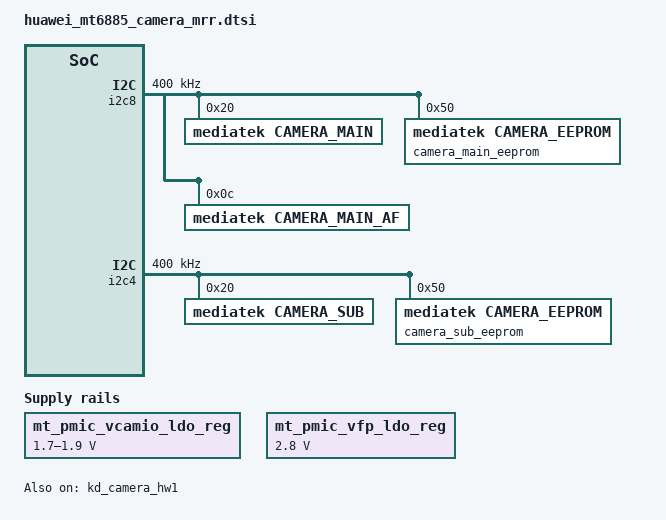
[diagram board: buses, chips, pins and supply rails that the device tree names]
/*
 * Copyright (c) Huawei Technologies Co., Ltd. 2020-2020. All rights reserved.
 * Description: mrr camera sensor dts config
 * Author: liming
 * Create: 2020-8-20
 */


&product_name_camera {
	product-name = "Mrr";
};

&mt_pmic_vcamio_ldo_reg {
	regulator-min-microvolt = <1700000>;
	regulator-max-microvolt = <1900000>;
	regulator-default-on = <2>; /* 0:skip, 1: off, 2:on */
	regulator-boot-on;
};

&mt_pmic_vfp_ldo_reg {
	regulator-min-microvolt = <2800000>;
	regulator-max-microvolt = <2800000>;
	regulator-default-on = <2>; /* 0:skip, 1: off, 2:on */
	regulator-boot-on;
};
/* CAMERA GPIO standardization */
&pio {
	/* Main Cam: cam0 GPIOs begin */
	cam0_rst_0: cam0@0 { // RST
		pins_cmd_dat {
			pinmux = <PINMUX_GPIO144__FUNC_GPIO144>;
			slew-rate = <1>;
			output-low;
		};
	};
	cam0_rst_1: cam0@1 {
		pins_cmd_dat {
			pinmux = <PINMUX_GPIO144__FUNC_GPIO144>;
			slew-rate = <1>;
			output-high;
		};
	};

	cam0_vcamd_en_0: cam0@vcam0 { // 1.2v DVDD
		pins_cmd_dat {
			pinmux = <PINMUX_GPIO134__FUNC_GPIO134>;
			slew-rate = <1>;
			output-low;
		};
	};
	cam0_vcamd_en_1: cam0@vcam1 {
		pins_cmd_dat {
			pinmux = <PINMUX_GPIO134__FUNC_GPIO134>;
			slew-rate = <1>;
			output-high;
		};
	};

	/* sel 0, output 1.05V*/
	cam0_vcamd_sel_0: cam0@vcam2 {
		pins_cmd_dat {
			pinmux = <PINMUX_GPIO135__FUNC_GPIO135>;
			slew-rate = <1>;
			output-low;
		};
	};
	/* sel 1, output 1.1V*/
	cam0_vcamd_sel_1: cam0@vcam3 {
		pins_cmd_dat {
			pinmux = <PINMUX_GPIO135__FUNC_GPIO135>;
			slew-rate = <1>;
			output-high;
		};
	};

	cam0_vcama_sel_0: cam0@vcam4 { // 1.1v dvdd
		pins_cmd_dat {
			pinmux = <PINMUX_GPIO137__FUNC_GPIO137>;
			slew-rate = <1>;
			output-low;
		};
	};

	cam0_vcama_sel_1: cam0@vcam5 {
		pins_cmd_dat {
			pinmux = <PINMUX_GPIO137__FUNC_GPIO137>;
			slew-rate = <1>;
			output-high;
		};
	};

	cam0_vcama_en_0: cam0@vcam6 { // AVDD
		pins_cmd_dat {
			pinmux = <PINMUX_GPIO133__FUNC_GPIO133>;
			slew-rate = <1>;
			output-low;
		};
	};
	cam0_vcama_en_1: cam0@vcam7 {
		pins_cmd_dat {
			pinmux = <PINMUX_GPIO133__FUNC_GPIO133>;
			slew-rate = <1>;
			output-high;
		};
	};

	cam0_mclk_off: cam0_mclk_off {
		pins_cmd_dat {
			pinmux = <PINMUX_GPIO150__FUNC_GPIO150>;
			drive-strength = <1>;
		};
	};
	cam0_mclk_2ma: cam0_mclk_2ma {
		pins_cmd_dat {
			pinmux = <PINMUX_GPIO150__FUNC_CMMCLK1>;
			drive-strength = <0>;
		};
	};
	cam0_mclk_4ma: cam0_mclk_4ma {
		pins_cmd_dat {
			pinmux = <PINMUX_GPIO150__FUNC_CMMCLK1>;
			drive-strength = <1>;
		};
	};
	cam0_mclk_6ma: cam0_mclk_6ma {
		pins_cmd_dat {
			pinmux = <PINMUX_GPIO150__FUNC_CMMCLK1>;
			drive-strength = <2>;
		};
	};
	cam0_mclk_8ma: cam0_mclk_8ma {
		pins_cmd_dat {
			pinmux = <PINMUX_GPIO150__FUNC_CMMCLK1>;
			drive-strength = <3>;
		};
	};
	/* Main Cam: cam0 GPIOs end */

	/* Sub(front) Cam: cam1 GPIOs begin */
	cam1_rst_0: cam1@0 {
		pins_cmd_dat {
			pinmux = <PINMUX_GPIO131__FUNC_GPIO131>;
			slew-rate = <1>;
			output-low;
		};
	};
	cam1_rst_1: cam1@1 {
		pins_cmd_dat {
			pinmux = <PINMUX_GPIO131__FUNC_GPIO131>;
			slew-rate = <1>;
			output-high;
		};
	};

	cam1_vcamd_en_0: cam1@vcam0 { // DVDD 1.2V
		pins_cmd_dat {
			pinmux = <PINMUX_GPIO134__FUNC_GPIO134>;
			slew-rate = <1>;
			output-low;
		};
	};
	cam1_vcamd_en_1: cam1@vcam1 {
		pins_cmd_dat {
			pinmux = <PINMUX_GPIO134__FUNC_GPIO134>;
			slew-rate = <1>;
			output-high;
		};
	};

	cam1_vcama_en_0: cam1@vcam2 { // AVDD
		pins_cmd_dat {
			pinmux = <PINMUX_GPIO133__FUNC_GPIO133>;
			slew-rate = <1>;
			output-low;
		};
	};

	cam1_vcama_en_1: cam1@vcam3 {
		pins_cmd_dat {
			pinmux = <PINMUX_GPIO133__FUNC_GPIO133>;
			slew-rate = <1>;
			output-high;
		};
	};

	cam1_mclk_off: cam1_mclk_off {
		pins_cmd_dat {
			pinmux = <PINMUX_GPIO136__FUNC_GPIO136>;
			drive-strength = <1>;
		};
	};
	cam1_mclk_2ma: cam1_mclk_2ma {
		pins_cmd_dat {
			pinmux = <PINMUX_GPIO136__FUNC_CMMCLK3>;
			drive-strength = <0>;
		};
	};
	cam1_mclk_4ma: cam1_mclk_4ma {
		pins_cmd_dat {
			pinmux = <PINMUX_GPIO136__FUNC_CMMCLK3>;
			drive-strength = <1>;
		};
	};
	cam1_mclk_6ma: cam1_mclk_6ma {
		pins_cmd_dat {
			pinmux = <PINMUX_GPIO136__FUNC_CMMCLK3>;
			drive-strength = <2>;
		};
	};
	cam1_mclk_8ma: cam1_mclk_8ma {
		pins_cmd_dat {
			pinmux = <PINMUX_GPIO136__FUNC_CMMCLK3>;
			drive-strength = <3>;
		};
	};
	/* Sub(front) Cam: cam1 GPIOs end */


	default: camdefault {
	};
};

&kd_camera_hw1 {
	pinctrl-names = "default",
			/* Main Cam: Cam0 begin */
			"cam0_rst0", "cam0_rst1",
			"cam0_vcamd_en_0", "cam0_vcamd_en_1",
			"cam0_vcamd_sel_0", "cam0_vcamd_sel_1",
			"cam0_vcama_sel_0", "cam0_vcama_sel_1",
			"cam0_vcama_en_0", "cam0_vcama_en_1",
			"cam0_mclk_off",
			"cam0_mclk_2mA", "cam0_mclk_4mA",
			"cam0_mclk_6mA", "cam0_mclk_8mA",
			/* Main Cam: Cam0 end */

			/* Sub(front) Cam: Cam1 begin */
			"cam1_rst0", "cam1_rst1",
			"cam1_vcamd_en_0", "cam1_vcamd_en_1",
			"cam1_vcama_en_0", "cam1_vcama_en_1",
			"cam1_mclk_off",
			"cam1_mclk_2mA", "cam1_mclk_4mA",
			"cam1_mclk_6mA", "cam1_mclk_8mA";
			/* Sub(front) Cam: Cam1 end */

	pinctrl-0 = <&default>;
	/* Main Cam: Cam0 begin */
	pinctrl-1 = <&cam0_rst_0>;
	pinctrl-2 = <&cam0_rst_1>;
	pinctrl-3 = <&cam0_vcamd_en_0>;
	pinctrl-4 = <&cam0_vcamd_en_1>;
	pinctrl-5 = <&cam0_vcamd_sel_0>;
	pinctrl-6 = <&cam0_vcamd_sel_1>;
	pinctrl-7 = <&cam0_vcama_sel_0>;
	pinctrl-8 = <&cam0_vcama_sel_1>;
	pinctrl-9 = <&cam0_vcama_en_0>;
	pinctrl-10 = <&cam0_vcama_en_1>;
	pinctrl-11 = <&cam0_mclk_off>;
	pinctrl-12 = <&cam0_mclk_2ma>;
	pinctrl-13 = <&cam0_mclk_4ma>;
	pinctrl-14 = <&cam0_mclk_6ma>;
	pinctrl-15 = <&cam0_mclk_8ma>;
	/* Sub(front) Cam: Cam1 begin */
	pinctrl-16 = <&cam1_rst_0>;
	pinctrl-17 = <&cam1_rst_1>;
	pinctrl-18 = <&cam1_vcamd_en_0>;
	pinctrl-19 = <&cam1_vcamd_en_1>;

	pinctrl-20 = <&cam1_vcama_en_0>;
	pinctrl-21 = <&cam1_vcama_en_1>;
	pinctrl-22 = <&cam1_mclk_off>;
	pinctrl-23 = <&cam1_mclk_2ma>;
	pinctrl-24 = <&cam1_mclk_4ma>;
	pinctrl-25 = <&cam1_mclk_6ma>;
	pinctrl-26 = <&cam1_mclk_8ma>;


	cam0_vcamio-supply = <&mt_pmic_vcamio_ldo_reg>;


	cam1_vcamio-supply = <&mt_pmic_vcamio_ldo_reg>;


	cam0_vcamaf-supply = <&mt_pmic_vfp_ldo_reg>;

	status = "okay";
};
/* CAMERA GPIO end */

/* CAMERA */
&i2c8 {
	#address-cells = <1>;
	#size-cells = <0>;
	clock-frequency = <400000>;
	camera_main:camera_main@20 {
		compatible = "mediatek,camera_main";
		reg = <0x20>;
		status = "okay";
	};
	camera_main_eeprom:camera_eeprom0@50 {
		compatible = "mediatek,camera_eeprom";
		reg = <0x50>;
		status = "okay";
	};
	camera_main_af:camera_main_af@0c {
		compatible = "mediatek,camera_main_af";
		reg = <0x0c>;
		status = "okay";
	};
};

&i2c4 {
	#address-cells = <1>;
	#size-cells = <0>;
	clock-frequency = <400000>;
	camera_sub:camera_sub@20 {
		compatible = "mediatek,camera_sub";
		reg = <0x20>;
		status = "okay";
	};
	camera_sub_eeprom:camera_eeprom1@50 {
		compatible = "mediatek,camera_eeprom";
		reg = <0x50>;
		status = "okay";
	};
};

/* CAMERA end */
